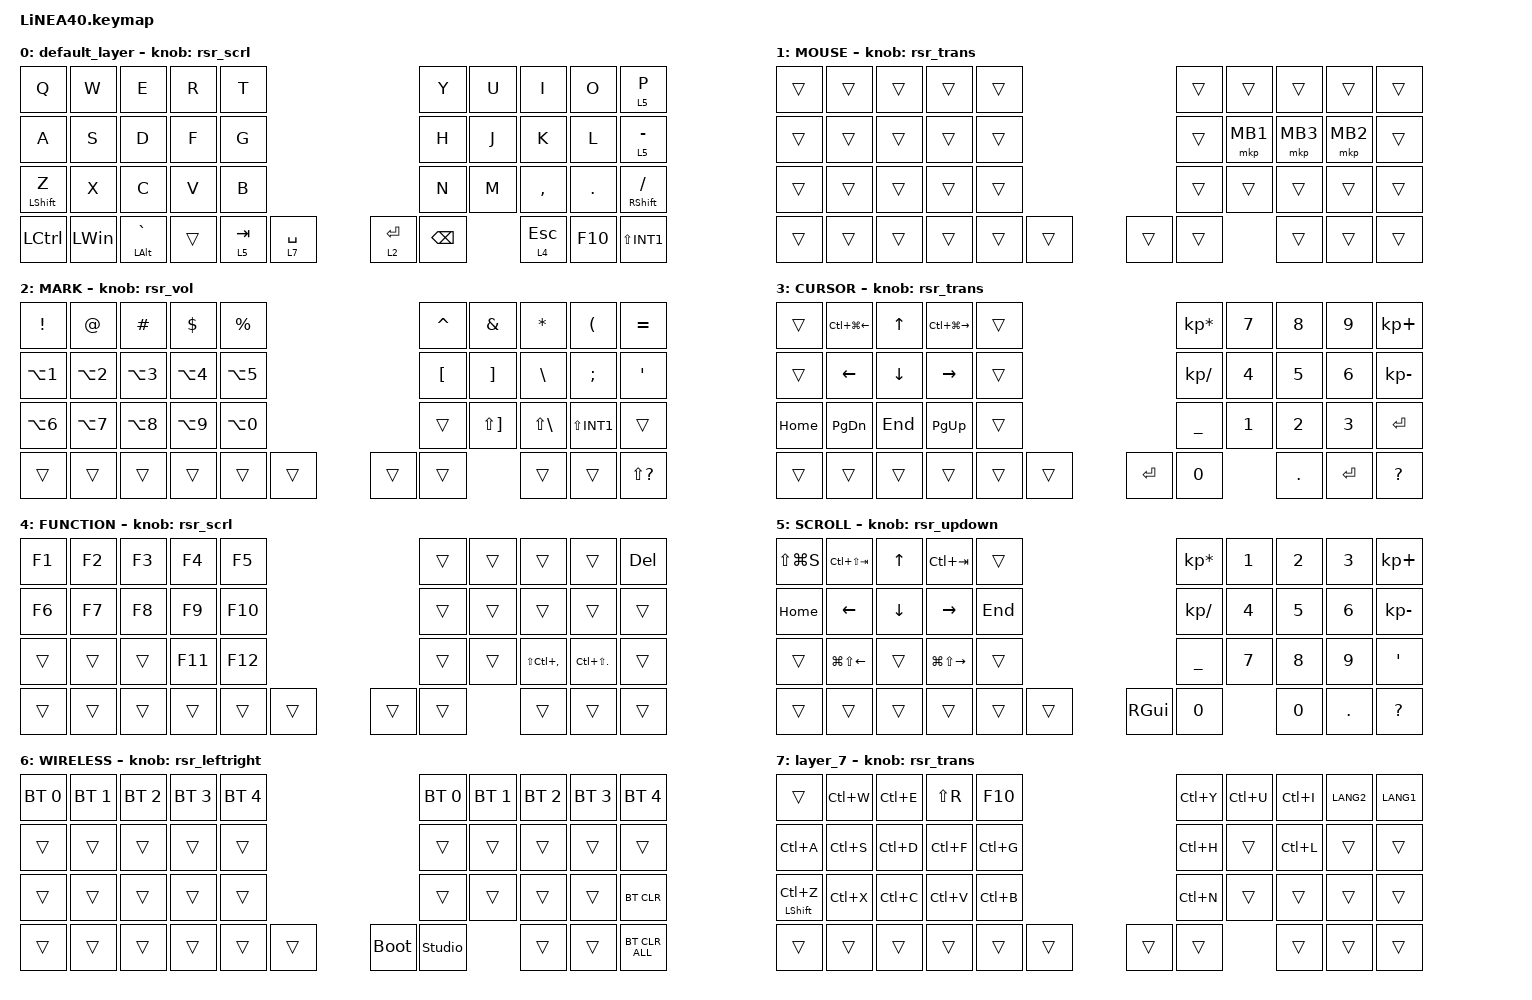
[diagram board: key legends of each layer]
#define ZMK_POINTING_DEFAULT_SCRL_VAL 150

#include <dt-bindings/zmk/input_transform.h>
#include <input/processors.dtsi>
#include <zephyr/dt-bindings/input/input-event-codes.h>
#include <behaviors.dtsi>
#include <dt-bindings/zmk/bt.h>
#include <dt-bindings/zmk/keys.h>
#include <dt-bindings/zmk/pointing.h>
#include <behaviors/runtime-input-processor.dtsi>
#include <behaviors/runtime_macro.dtsi>
#include <behaviors/runtime-sensor-rotate.dtsi>
#include <behaviors/default_layer.dtsi>

#define MOUSE 1
#define MARK 2
#define CURSOR 3
#define FUNCTION 4
#define SCROLL 5
#define WIRELESS 6

//mouse cursol

&mmv {
    delay-ms = <20>;
    trigger-period-ms = <5>;
    time-to-max-speed-ms = <100>;
    acceleration-exponent = <2>;
};

//mouse scroll

&msc {
    delay-ms = <3>;
    trigger-period-ms = <3>;
    time-to-max-speed-ms = <100>;
    acceleration-exponent = <0>;
};

/ {
    input_processors {
        zip_wheel_scaler: zip_wheel_scaler {
            compatible = "zmk,input-processor-scaler";
            #input-processor-cells = <2>;
            type = <INPUT_EV_REL>;
            codes = <INPUT_REL_WHEEL>;
            track-remainders;
        };
    };
};

&msc_input_listener {
    speed_up {
        layers = <FUNCTION>;
        input-processors = <&zip_wheel_scaler 3 1>; //スクロールを3倍速にする
    };
};

/ {
    // DYA Studio の Combo タブから編集できるコンボの初期値
    runtime_combo_defaults {
        compatible = "cormoran,runtime-combo-defaults";

        CenterClick {
            bindings = <&mkp MB3>;
            key-positions = <17 7>;
        };

        RightClick {
            bindings = <&mkp MB2>;
            key-positions = <18 17>;
        };

        LeftClick {
            bindings = <&mkp MB1>;
            key-positions = <16 17>;
        };

        Login {
            bindings = <&kp LC(LA(DELETE))>;
            key-positions = <8 9>;
        };

        Bluetooth {
            bindings = <&mo 6>;
            key-positions = <35 36>;
        };

        Japan {
            bindings = <&kp LANG1>;
            key-positions = <36 37>;
        };

        English {
            bindings = <&kp LANG2>;
            key-positions = <34 35>;
        };
    };

    behaviors {
        // ロータリーエンコーダーの初期値 (DYA Studio からレイヤーごとに変更できる)
        rsr_scrl: rsr_scrl {
            compatible = "zmk,behavior-runtime-sensor-rotate";
            #sensor-binding-cells = <0>;
            tap-ms = <20>;
            cw-binding = <&msc SCRL_DOWN>;
            ccw-binding = <&msc SCRL_UP>;
        };

        rsr_vol: rsr_vol {
            compatible = "zmk,behavior-runtime-sensor-rotate";
            #sensor-binding-cells = <0>;
            cw-binding = <&kp C_VOLUME_DOWN>;
            ccw-binding = <&kp C_VOLUME_UP>;
        };

        rsr_updown: rsr_updown {
            compatible = "zmk,behavior-runtime-sensor-rotate";
            #sensor-binding-cells = <0>;
            cw-binding = <&kp DOWN_ARROW>;
            ccw-binding = <&kp UP_ARROW>;
        };

        rsr_leftright: rsr_leftright {
            compatible = "zmk,behavior-runtime-sensor-rotate";
            #sensor-binding-cells = <0>;
            cw-binding = <&kp RIGHT_ARROW>;
            ccw-binding = <&kp LEFT_ARROW>;
        };
    };

    keymap {
        compatible = "zmk,keymap";

        default_layer {
            bindings = <
&kp Q             &kp W         &kp E               &kp R   &kp T                                  &kp Y          &kp U  &kp I      &kp O    &lt 5 P
&kp A             &kp S         &kp D               &kp F   &kp G                                  &kp H          &kp J  &kp K      &kp L    &lt 5 MINUS
&mt LEFT_SHIFT Z  &kp X         &kp C               &kp V   &kp B                                  &kp N          &kp M  &kp COMMA  &kp DOT  &mt RIGHT_SHIFT SLASH
&kp LCTRL         &kp LEFT_WIN  &mt LEFT_ALT GRAVE  &trans  &lt 5 TAB  &lt 7 SPACE    &lt 2 ENTER  &kp BACKSPACE         &lt 4 ESC  &kp F10  &kp LS(INT1)
            >;

            sensor-bindings = <&rsr_scrl>;
        };

        //1

        MOUSE {
            bindings = <
&trans  &trans  &trans  &trans  &trans                    &trans  &trans    &trans    &trans    &trans
&trans  &trans  &trans  &trans  &trans                    &trans  &mkp MB1  &mkp MB3  &mkp MB2  &trans
&trans  &trans  &trans  &trans  &trans                    &trans  &trans    &trans    &trans    &trans
&trans  &trans  &trans  &trans  &trans  &trans    &trans  &trans            &trans    &trans    &trans
            >;

            sensor-bindings = <&rsr_trans>;
        };

        //2

        MARK {
            bindings = <
&kp EXCLAMATION   &kp AT      &kp HASH    &kp DOLLAR  &kp PERCENT                    &kp CARET         &kp AMPERSAND          &kp ASTERISK       &kp LEFT_PARENTHESIS  &kp EQUAL
&kp LA(NUMBER_1)  &kp LA(N2)  &kp LA(N3)  &kp LA(N4)  &kp LA(N5)                     &kp LEFT_BRACKET  &kp RIGHT_BRACKET      &kp BACKSLASH      &kp SEMICOLON         &kp SQT
&kp LA(N6)        &kp LA(N7)  &kp LA(N8)  &kp LA(N9)  &kp LA(N0)                     &trans            &kp LS(RIGHT_BRACKET)  &kp LS(BACKSLASH)  &kp LS(INT1)          &trans
&trans            &trans      &trans      &trans      &trans       &trans    &trans  &trans                                   &trans             &trans                &kp LS(QUESTION)
            >;

            sensor-bindings = <&rsr_vol>;
        };

        //3

        CURSOR {
            bindings = <
&trans    &kp LC(LG(LEFT_ARROW))  &kp UP_ARROW  &kp LC(LG(RIGHT_ARROW))  &trans                       &kp KP_MULTIPLY  &kp NUMBER_7  &kp NUMBER_8  &kp NUMBER_9  &kp KP_PLUS
&trans    &kp LEFT_ARROW          &kp DOWN      &kp RIGHT_ARROW          &trans                       &kp KP_SLASH     &kp NUMBER_4  &kp NUMBER_5  &kp NUMBER_6  &kp KP_MINUS
&kp HOME  &kp PAGE_DOWN           &kp END       &kp PAGE_UP              &trans                       &kp UNDER        &kp NUMBER_1  &kp NUMBER_2  &kp NUMBER_3  &kp ENTER
&trans    &trans                  &trans        &trans                   &trans  &trans    &kp ENTER  &kp NUMBER_0                   &kp DOT       &kp ENTER     &kp QUESTION
            >;

            sensor-bindings = <&rsr_trans>;
        };

        //4

        FUNCTION {
            bindings = <
&kp F1  &kp F2  &kp F3  &kp F4   &kp F5                     &trans  &trans  &trans             &trans              &kp DELETE
&kp F6  &kp F7  &kp F8  &kp F9   &kp F10                    &trans  &trans  &trans             &trans              &trans
&trans  &trans  &trans  &kp F11  &kp F12                    &trans  &trans  &kp LS(LC(COMMA))  &kp LC(LS(PERIOD))  &trans
&trans  &trans  &trans  &trans   &trans   &trans    &trans  &trans          &trans             &trans              &trans
            >;

            sensor-bindings = <&rsr_scrl>;
        };

        //5

        SCROLL {
            bindings = <
&kp LS(LG(S))  &kp LC(LS(TAB))         &kp UP_ARROW  &kp LC(TAB)        &trans                            &kp KP_MULTIPLY  &kp NUMBER_1  &kp NUMBER_2  &kp NUMBER_3  &kp KP_PLUS
&kp HOME       &kp LEFT_ARROW          &kp DOWN      &kp RIGHT_ARROW    &kp END                           &kp KP_SLASH     &kp NUMBER_4  &kp NUMBER_5  &kp NUMBER_6  &kp KP_MINUS
&trans         &kp LG(LS(LEFT_ARROW))  &trans        &kp LG(LS(RIGHT))  &trans                            &kp UNDER        &kp N7        &kp NUMBER_8  &kp NUMBER_9  &kp SQT
&trans         &trans                  &trans        &trans             &trans   &trans    &kp RIGHT_GUI  &kp NUMBER_0                   &kp NUMBER_0  &kp DOT       &kp QUESTION
            >;

            sensor-bindings = <&rsr_updown>;
        };

        //6

        WIRELESS {
            bindings = <
&bt BT_SEL 0  &bt BT_SEL 1  &bt BT_SEL 2  &bt BT_SEL 3  &bt BT_SEL 4                         &bt BT_SEL 0    &bt BT_SEL 1  &bt BT_SEL 2  &bt BT_SEL 3  &bt BT_SEL 4
&trans        &trans        &trans        &trans        &trans                               &trans          &trans        &trans        &trans        &trans
&trans        &trans        &trans        &trans        &trans                               &trans          &trans        &trans        &trans        &bt BT_CLR
&trans        &trans        &trans        &trans        &trans        &trans    &bootloader  &studio_unlock                &trans        &trans        &bt BT_CLR_ALL
            >;

            sensor-bindings = <&rsr_leftright>;
        };

        layer_7 {
            bindings = <
&trans                &kp LC(W)  &kp LC(E)  &kp LS(R)  &kp F10                      &kp LC(Y)  &kp LC(U)  &kp LC(I)  &kp LANG2  &kp LANG1
&kp LC(A)             &kp LC(S)  &kp LC(D)  &kp LC(F)  &kp LC(G)                    &kp LC(H)  &trans     &kp LC(L)  &trans     &trans
&mt LEFT_SHIFT LC(Z)  &kp LC(X)  &kp LC(C)  &kp LC(V)  &kp LC(B)                    &kp LC(N)  &trans     &trans     &trans     &trans
&trans                &trans     &trans     &trans     &trans     &trans    &trans  &trans                &trans     &trans     &trans
            >;

            sensor-bindings = <&rsr_trans>;
        };
    };
};
